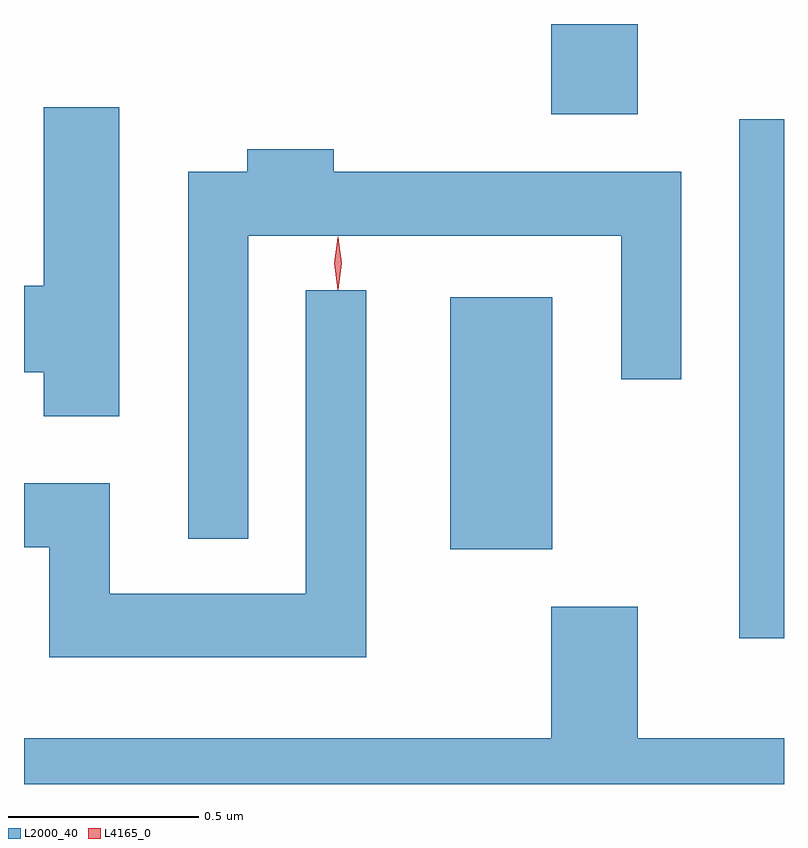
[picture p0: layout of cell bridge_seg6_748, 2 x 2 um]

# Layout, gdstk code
import gdstk
lib = gdstk.Library(unit=1e-6, precision=1e-09)
def R(c, l, rs):  # rectangles x0, y0, x1, y1
    for r in rs: c.add(gdstk.rectangle(r[:2], r[2:], *l))
def P(c, l, *ps):  # polygons
    for p in ps: c.add(gdstk.Polygon(p, *l))
L2000_40 = (2000, 40)
L4165_0 = (4165, 0)

bridge_seg6_748 = lib.new_cell('bridge_seg6_748')
R(bridge_seg6_748, L2000_40, [(345.516,1590.526,345.634,1591.893), (344.756,1590.761,345.024,1591.424), (345.021,1591.906,345.249,1592.143)])
P(bridge_seg6_748, L2000_40, [(343.884,1591.924),(343.686,1591.924),(343.686,1591.454),(343.634,1591.454),(343.634,1591.226),(343.686,1591.226),(343.686,1591.111),(343.884,1591.111)],
  [(344.224,1591.586),(345.206,1591.586),(345.206,1591.208),(345.364,1591.208),(345.364,1591.754),(344.449,1591.754),(344.449,1591.814),(344.221,1591.814),(344.221,1591.754),(344.066,1591.754),(344.066,1590.788),(344.224,1590.788)],
  [(344.534,1591.443),(344.376,1591.443),(344.376,1590.644),(343.859,1590.644),(343.859,1590.934),(343.634,1590.934),(343.634,1590.766),(343.701,1590.766),(343.701,1590.476),(344.534,1590.476)],
  [(345.634,1590.264),(345.249,1590.264),(345.249,1590.609),(345.021,1590.609),(345.021,1590.264),(343.634,1590.264),(343.634,1590.143),(345.634,1590.143)])
P(bridge_seg6_748, L4165_0, [(344.46,1591.444),(344.46,1591.444),(344.451,1591.513),(344.46,1591.582),(344.461,1591.583),(344.461,1591.582),(344.47,1591.513),(344.461,1591.444)])

lib.write_gds('bridge_seg6_748.gds')
